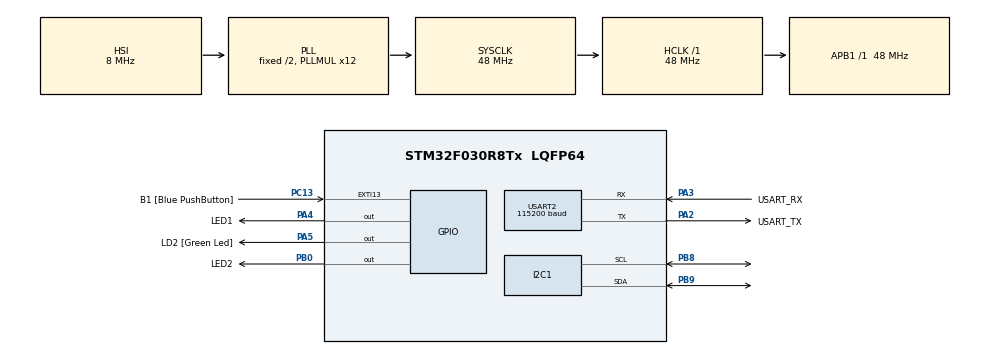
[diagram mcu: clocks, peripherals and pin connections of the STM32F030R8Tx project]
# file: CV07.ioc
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FREERTOS.Queues01=xVisualQueue,16,int16_t,0,Dynamic,NULL,NULL
FREERTOS.Tasks01=defaultTask,0,128,StartDefaultTask,Default,NULL,Dynamic,NULL,NULL;VisualTask,0,128,StartVisualTask,Default,NULL,Dynamic,NULL,NULL;AcceleroTask,-3,128,StartAcceleroTask,Default,NULL,Dynamic,NULL,NULL
FREERTOS.configUSE_NEWLIB_REENTRANT=1
I2C1.Timing=0x00201D2B
Mcu.Family=STM32F0
Mcu.Name=STM32F030R8Tx
Mcu.Package=LQFP64
NVIC.TIM14_IRQn=true\:3\:0\:false\:false\:true\:false\:false\:true\:true
NVIC.TimeBase=TIM14_IRQn
NVIC.TimeBaseIP=TIM14
PA13.GPIO_Label=TMS
PA13.Mode=Serial_Wire
PA13.Signal=SYS_SWDIO
PA14.GPIO_Label=TCK
PA14.Mode=Serial_Wire
PA14.Signal=SYS_SWCLK
PA2.GPIO_Label=USART_TX
PA2.GPIO_Mode=GPIO_MODE_AF_PP
PA2.GPIO_PuPd=GPIO_NOPULL
PA2.GPIO_Speed=GPIO_SPEED_FREQ_LOW
PA2.Mode=Asynchronous
PA2.Signal=USART2_TX
PA3.GPIO_Label=USART_RX
PA3.GPIO_Mode=GPIO_MODE_AF_PP
PA3.GPIO_PuPd=GPIO_NOPULL
PA3.GPIO_Speed=GPIO_SPEED_FREQ_LOW
PA3.Mode=Asynchronous
PA3.Signal=USART2_RX
PA4.GPIO_Label=LED1
PA4.Signal=GPIO_Output
PA5.GPIO_Label=LD2 [Green Led]
PA5.GPIO_Mode=GPIO_MODE_OUTPUT_PP
PA5.GPIO_PuPd=GPIO_NOPULL
PA5.GPIO_Speed=GPIO_SPEED_FREQ_LOW
PA5.Signal=GPIO_Output
PB0.GPIO_Label=LED2
PB0.Signal=GPIO_Output
PB8.Mode=I2C
PB8.Signal=I2C1_SCL
PB9.Mode=I2C
PB9.Signal=I2C1_SDA
PC13.GPIO_Label=B1 [Blue PushButton]
PC13.GPIO_ModeDefaultEXTI=GPIO_MODE_IT_FALLING
PC13.Signal=GPXTI13
PC14-OSC32_IN.Mode=LSE-External-Oscillator
PC14-OSC32_IN.Signal=RCC_OSC32_IN
PC15-OSC32_OUT.Mode=LSE-External-Oscillator
PC15-OSC32_OUT.Signal=RCC_OSC32_OUT
PF0-OSC_IN.Mode=HSE-External-Clock-Source
PF0-OSC_IN.Signal=RCC_OSC_IN
PF1-OSC_OUT.Signal=RCC_OSC_OUT
ProjectManager.HeapSize=0x200
ProjectManager.StackSize=0x400
ProjectManager.TargetToolchain=STM32CubeIDE
RCC.AHBFreq_Value=48000000
RCC.APB1Freq_Value=48000000
RCC.APB1TimFreq_Value=48000000
RCC.HCLKFreq_Value=48000000
RCC.PLLMUL=RCC_PLL_MUL12
RCC.SYSCLKFreq_VALUE=48000000
RCC.SYSCLKSource=RCC_SYSCLKSOURCE_PLLCLK
USART2.BaudRate=115200
USART2.VirtualMode-Asynchronous=VM_ASYNC
VP_FREERTOS_VS_CMSIS_V1.Mode=CMSIS_V1
VP_SYS_VS_tim14.Mode=TIM14
board=NUCLEO-F030R8

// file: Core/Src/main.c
/* USER CODE BEGIN Header */
/**
  ******************************************************************************
  * @file           : main.c
  * @brief          : Main program body
  ******************************************************************************
  * @attention
  *
  * Copyright (c) 2024 STMicroelectronics.
  * All rights reserved.
  *
  * This software is licensed under terms that can be found in the LICENSE file
  * in the root directory of this software component.
  * If no LICENSE file comes with this software, it is provided AS-IS.
  *
  ******************************************************************************
  */
/* USER CODE END Header */
#include "main.h"
#include "cmsis_os.h"
#include "i2c.h"
#include "usart.h"
#include "gpio.h"

/* USER CODE BEGIN Includes */

#include <stdio.h>
/* USER CODE END Includes */

void SystemClock_Config(void);
void MX_FREERTOS_Init(void);
/* USER CODE BEGIN PFP */
int _write(int file, char const *buf, int n)
{
	/* stdout redirection to UART2 */
	HAL_UART_Transmit(&huart2, (uint8_t*) (buf), n, HAL_MAX_DELAY);
	return n;
}
/* USER CODE END PFP */

int main(void)
{

  /* MCU Configuration--------------------------------------------------------*/

  /* Reset of all peripherals, Initializes the Flash interface and the Systick. */
  HAL_Init();

  /* Configure the system clock */
  SystemClock_Config();

  /* Initialize all configured peripherals */
  MX_GPIO_Init();
  MX_USART2_UART_Init();
  MX_I2C1_Init();

  /* Call init function for freertos objects (in cmsis_os2.c) */
  MX_FREERTOS_Init();

  /* Start scheduler */
  osKernelStart();

  /* We should never get here as control is now taken by the scheduler */

  /* Infinite loop */
  while (1)
  {

  }
}

void SystemClock_Config(void)
{
  RCC_OscInitTypeDef RCC_OscInitStruct = {0};
  RCC_ClkInitTypeDef RCC_ClkInitStruct = {0};
  RCC_PeriphCLKInitTypeDef PeriphClkInit = {0};

  /** Initializes the RCC Oscillators according to the specified parameters
  * in the RCC_OscInitTypeDef structure.
  */
  RCC_OscInitStruct.OscillatorType = RCC_OSCILLATORTYPE_HSI;
  RCC_OscInitStruct.HSIState = RCC_HSI_ON;
  RCC_OscInitStruct.HSICalibrationValue = RCC_HSICALIBRATION_DEFAULT;
  RCC_OscInitStruct.PLL.PLLState = RCC_PLL_ON;
  RCC_OscInitStruct.PLL.PLLSource = RCC_PLLSOURCE_HSI;
  RCC_OscInitStruct.PLL.PLLMUL = RCC_PLL_MUL12;
  RCC_OscInitStruct.PLL.PREDIV = RCC_PREDIV_DIV1;
  if (HAL_RCC_OscConfig(&RCC_OscInitStruct) != HAL_OK)
  {
    Error_Handler();
  }

  /** Initializes the CPU, AHB and APB buses clocks
  */
  RCC_ClkInitStruct.ClockType = RCC_CLOCKTYPE_HCLK|RCC_CLOCKTYPE_SYSCLK
                              |RCC_CLOCKTYPE_PCLK1;
  RCC_ClkInitStruct.SYSCLKSource = RCC_SYSCLKSOURCE_PLLCLK;
  RCC_ClkInitStruct.AHBCLKDivider = RCC_SYSCLK_DIV1;
  RCC_ClkInitStruct.APB1CLKDivider = RCC_HCLK_DIV1;

  if (HAL_RCC_ClockConfig(&RCC_ClkInitStruct, FLASH_LATENCY_1) != HAL_OK)
  {
    Error_Handler();
  }
  PeriphClkInit.PeriphClockSelection = RCC_PERIPHCLK_I2C1;
  PeriphClkInit.I2c1ClockSelection = RCC_I2C1CLKSOURCE_HSI;
  if (HAL_RCCEx_PeriphCLKConfig(&PeriphClkInit) != HAL_OK)
  {
    Error_Handler();
  }
}

void HAL_TIM_PeriodElapsedCallback(TIM_HandleTypeDef *htim)
{
  if (htim->Instance == TIM14) {
    HAL_IncTick();
  }
}

void Error_Handler(void)
{
  __disable_irq();
  while (1)
  {
  }
}

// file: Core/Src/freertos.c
/* USER CODE BEGIN Header */
/**
  ******************************************************************************
  * File Name          : freertos.c
  * Description        : Code for freertos applications
  ******************************************************************************
  * @attention
  *
  * Copyright (c) 2024 STMicroelectronics.
  * All rights reserved.
  *
  * This software is licensed under terms that can be found in the LICENSE file
  * in the root directory of this software component.
  * If no LICENSE file comes with this software, it is provided AS-IS.
  *
  ******************************************************************************
  */
/* USER CODE END Header */

#include "FreeRTOS.h"
#include "task.h"
#include "main.h"
#include "cmsis_os.h"

/* USER CODE BEGIN Includes */
#include "gpio.h"
#include "lis2dw12_reg.h"
#include "accel.h"
#include <stdio.h>
/* USER CODE END Includes */

osThreadId defaultTaskHandle;
osThreadId VisualTaskHandle;
osThreadId AcceleroTaskHandle;
osMessageQId xVisualQueueHandle;

void StartDefaultTask(void const * argument);
void StartVisualTask(void const * argument);
void StartAcceleroTask(void const * argument);

void MX_FREERTOS_Init(void); /* (MISRA C 2004 rule 8.1) */

/* GetIdleTaskMemory prototype (linked to static allocation support) */
void vApplicationGetIdleTaskMemory( StaticTask_t **ppxIdleTaskTCBBuffer, StackType_t **ppxIdleTaskStackBuffer, uint32_t *pulIdleTaskStackSize );

/* USER CODE BEGIN GET_IDLE_TASK_MEMORY */
static StaticTask_t xIdleTaskTCBBuffer;
static StackType_t xIdleStack[configMINIMAL_STACK_SIZE];

void vApplicationGetIdleTaskMemory( StaticTask_t **ppxIdleTaskTCBBuffer, StackType_t **ppxIdleTaskStackBuffer, uint32_t *pulIdleTaskStackSize )
{
  *ppxIdleTaskTCBBuffer = &xIdleTaskTCBBuffer;
  *ppxIdleTaskStackBuffer = &xIdleStack[0];
  *pulIdleTaskStackSize = configMINIMAL_STACK_SIZE;
  /* place for user code */
}
/* USER CODE END GET_IDLE_TASK_MEMORY */

void MX_FREERTOS_Init(void) {

  /* Create the queue(s) */
  /* definition and creation of xVisualQueue */
  osMessageQDef(xVisualQueue, 16, int16_t);
  xVisualQueueHandle = osMessageCreate(osMessageQ(xVisualQueue), NULL);

  /* Create the thread(s) */
  /* definition and creation of defaultTask */
  osThreadDef(defaultTask, StartDefaultTask, osPriorityNormal, 0, 128);
  defaultTaskHandle = osThreadCreate(osThread(defaultTask), NULL);

  /* definition and creation of VisualTask */
  osThreadDef(VisualTask, StartVisualTask, osPriorityNormal, 0, 128);
  VisualTaskHandle = osThreadCreate(osThread(VisualTask), NULL);

  /* definition and creation of AcceleroTask */
  osThreadDef(AcceleroTask, StartAcceleroTask, osPriorityIdle, 0, 128);
  AcceleroTaskHandle = osThreadCreate(osThread(AcceleroTask), NULL);

}

void StartDefaultTask(void const * argument)
{
  for(;;)
  {
    osDelay(1);
  }
}

void StartVisualTask(void const * argument)
{
  /* USER CODE BEGIN StartVisualTask */
  /* Infinite loop */
  for(;;)
  {

		int16_t msg;
		if (xQueueReceive(xVisualQueueHandle, &msg, portMAX_DELAY))
		{
			if(msg < -1000)
			{
				HAL_GPIO_WritePin(LED1_GPIO_Port, LED1_Pin, 1);
				HAL_GPIO_WritePin(LED2_GPIO_Port, LED2_Pin, 0);
			}
			else if (msg > 1000)
			{
				HAL_GPIO_WritePin(LED1_GPIO_Port, LED1_Pin, 0);
				HAL_GPIO_WritePin(LED2_GPIO_Port, LED2_Pin, 1);
			}
			else
			{
				HAL_GPIO_WritePin(LED1_GPIO_Port, LED1_Pin, 0);
				HAL_GPIO_WritePin(LED2_GPIO_Port, LED2_Pin, 0);
			}

		}

		osDelay(1);
  }
  /* USER CODE END StartVisualTask */
}

void StartAcceleroTask(void const * argument)
{
  /* USER CODE BEGIN StartAcceleroTask */

	static stmdev_ctx_t lis2dw12 =
	{.write_reg = platform_write, .read_reg = platform_read, .handle = &hi2c1 };

	// Check device ID
	uint8_t whoamI = 0;
	lis2dw12_device_id_get(&lis2dw12, &whoamI);
	printf("LIS2DW12_ID %s\n", (whoamI == LIS2DW12_ID) ? "OK" : "FAIL");

	lis2dw12_full_scale_set(&lis2dw12, LIS2DW12_2g);
	lis2dw12_power_mode_set(&lis2dw12, LIS2DW12_CONT_LOW_PWR_LOW_NOISE_2);
	lis2dw12_block_data_update_set(&lis2dw12, PROPERTY_ENABLE);
	// enable continuous FIFO
	lis2dw12_fifo_mode_set(&lis2dw12, LIS2DW12_STREAM_MODE);
	// enable part from power-down
	lis2dw12_data_rate_set(&lis2dw12, LIS2DW12_XL_ODR_25Hz);

  /* Infinite loop */
  for(;;)
  {
		uint8_t samples;
		int16_t raw_acceleration[3];
		lis2dw12_fifo_data_level_get(&lis2dw12, &samples);
		for (uint8_t i = 0; i < samples; i++)
		{
			// Read acceleration data
			lis2dw12_acceleration_raw_get(&lis2dw12, raw_acceleration);
			osMessagePut(xVisualQueueHandle, raw_acceleration[0], 0);
			printf("X=%d Y=%d Z=%d\n", raw_acceleration[0], raw_acceleration[1], raw_acceleration[2]);
		}
		osDelay(100);

  }
  /* USER CODE END StartAcceleroTask */
}
